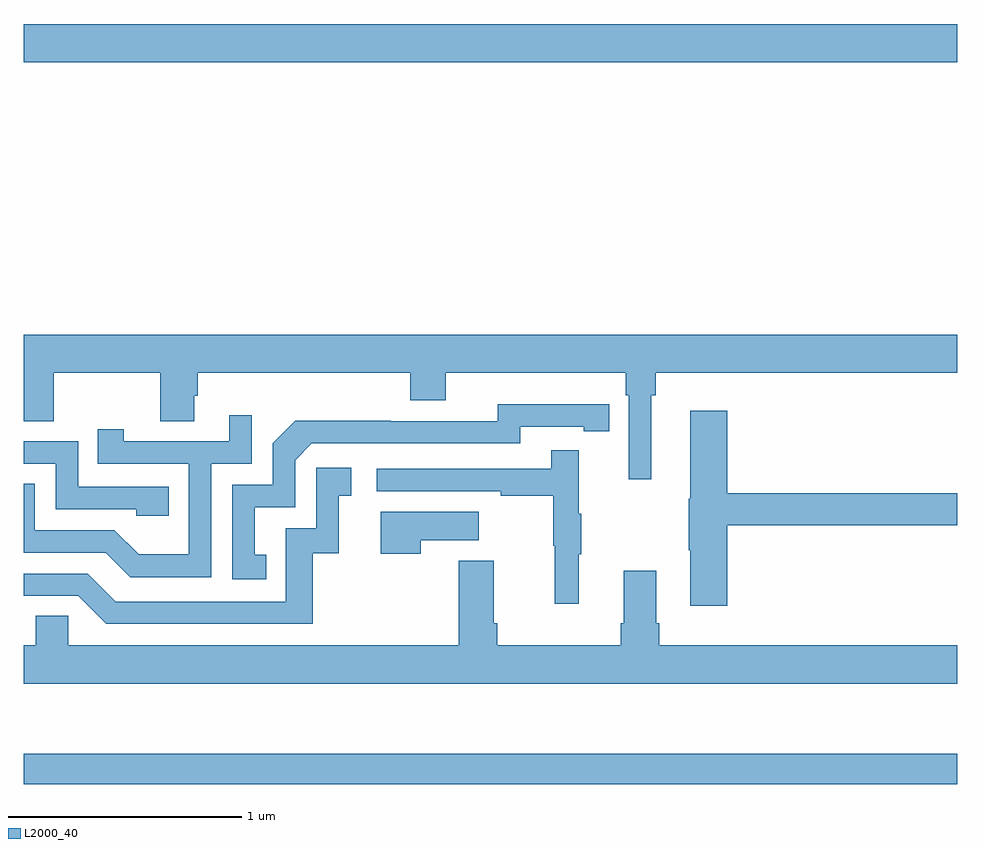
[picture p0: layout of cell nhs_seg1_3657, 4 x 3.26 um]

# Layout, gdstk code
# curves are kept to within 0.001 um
import gdstk
lib = gdstk.Library(unit=1e-6, precision=1e-09)
def R(c, l, rs):  # rectangles x0, y0, x1, y1
    for r in rs: c.add(gdstk.rectangle(r[:2], r[2:], *l))
def P(c, l, *ps):  # polygons
    for p in ps: c.add(gdstk.Polygon(p, *l))
L2000_40 = (2000, 40)

nhs_seg1_3657 = lib.new_cell('nhs_seg1_3657')
R(nhs_seg1_3657, L2000_40, [(311,504.682,315,504.811), (311,507.776,315,507.94)])
P(nhs_seg1_3657, L2000_40, [(313.69,506.348),(313.709,506.348),(313.709,506.444),(315,506.444),(315,506.608),(311,506.608),(311,506.236),(311.127,506.236),(311.127,506.444),(311.584,506.444),(311.584,506.236),(311.731,506.236),(311.731,506.346),(311.744,506.346),(311.744,506.444),(312.656,506.444),(312.656,506.327),(312.808,506.327),(312.808,506.444),(313.58,506.444),(313.58,506.348),(313.593,506.348),(313.593,505.989),(313.69,505.989)],
  [(312.038,505.665),(311.989,505.665),(311.989,505.869),(312.162,505.869),(312.162,506.07),(312.234,506.142),(313.128,506.142),(313.128,506.214),(313.4,506.214),(313.4,506.194),(313.508,506.194),(313.508,506.31),(313.032,506.311),(313.032,506.238),(312.572,506.238),(312.572,506.24),(312.164,506.24),(312.066,506.142),(312.066,505.965),(311.892,505.965),(311.892,505.56),(312.038,505.56)],
  [(314.015,505.792),(315,505.792),(315,505.928),(314.015,505.928),(314.015,506.281),(313.856,506.281),(313.856,505.905),(313.849,505.905),(313.849,505.684),(313.856,505.684),(313.856,505.446),(314.015,505.446)],
  [(311.802,506.055),(311.976,506.055),(311.976,506.263),(311.879,506.263),(311.879,506.151),(311.428,506.151),(311.428,506.203),(311.317,506.203),(311.317,506.055),(311.706,506.055),(311.706,505.666),(311.492,505.666),(311.388,505.77),(311.046,505.77),(311.046,505.969),(311,505.969),(311,505.674),(311.351,505.674),(311.456,505.569),(311.802,505.569)],
  [(311.621,505.956),(311.232,505.956),(311.232,506.151),(311,506.151),(311,506.055),(311.136,506.055),(311.136,505.86),(311.481,505.86),(311.481,505.833),(311.621,505.833)],
  [(313.379,505.667),(313.39,505.667),(313.39,505.841),(313.379,505.841),(313.379,506.113),(313.261,506.113),(313.261,506.034),(312.513,506.034),(312.513,505.938),(313.045,505.938),(313.045,505.918),(313.269,505.918),(313.269,505.704),(313.276,505.704),(313.276,505.455),(313.379,505.455)],
  [(312.239,505.671),(312.35,505.671),(312.35,505.917),(312.403,505.917),(312.403,506.038),(312.252,506.038),(312.252,505.779),(312.123,505.779),(312.123,505.464),(311.394,505.464),(311.274,505.584),(311,505.584),(311,505.488),(311.232,505.488),(311.352,505.368),(312.239,505.368)],
  [(312.701,505.727),(312.949,505.727),(312.949,505.849),(312.53,505.849),(312.53,505.668),(312.701,505.668)],
  [(315,505.276),(313.724,505.276),(313.724,505.372),(313.711,505.372),(313.711,505.597),(313.571,505.597),(313.571,505.372),(313.559,505.372),(313.559,505.276),(313.028,505.276),(313.028,505.372),(313.015,505.372),(313.015,505.639),(312.863,505.639),(312.863,505.276),(311.19,505.276),(311.19,505.403),(311.051,505.403),(311.051,505.276),(311,505.276),(311,505.112),(315,505.112)])

lib.write_gds('nhs_seg1_3657.gds')
